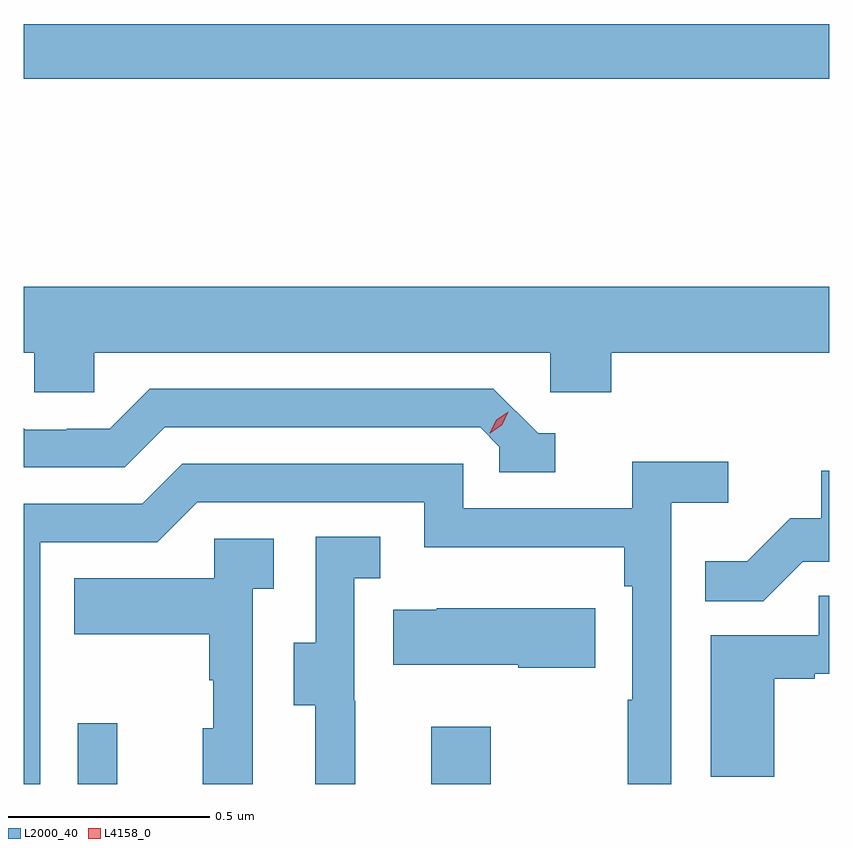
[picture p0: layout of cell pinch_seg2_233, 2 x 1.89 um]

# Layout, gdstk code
import gdstk
lib = gdstk.Library(unit=1e-6, precision=1e-09)
def R(c, l, rs):  # rectangles x0, y0, x1, y1
    for r in rs: c.add(gdstk.rectangle(r[:2], r[2:], *l))
def P(c, l, *ps):  # polygons
    for p in ps: c.add(gdstk.Polygon(p, *l))
L2000_40 = (2000, 40)
L4158_0 = (4158, 0)

pinch_seg2_233 = lib.new_cell('pinch_seg2_233')
R(pinch_seg2_233, L2000_40, [(1013.589,651.894,1013.687,652.045), (1014.467,651.894,1014.615,652.036), (1013.455,653.644,1015.455,653.78)])
P(pinch_seg2_233, L2000_40, [(1013.631,652.964),(1014.762,652.964),(1014.762,652.866),(1014.914,652.866),(1014.914,652.964),(1015.455,652.964),(1015.455,653.128),(1013.455,653.128),(1013.455,652.964),(1013.481,652.964),(1013.481,652.866),(1013.631,652.866)],
  [(1014.775,652.764),(1014.732,652.764),(1014.621,652.875),(1013.768,652.875),(1013.669,652.776),(1013.562,652.776),(1013.562,652.773),(1013.459,652.773),(1013.455,652.777),(1013.455,652.68),(1013.706,652.68),(1013.805,652.779),(1014.588,652.779),(1014.636,652.731),(1014.636,652.668),(1014.775,652.668)],
  [(1013.496,652.494),(1013.787,652.494),(1013.886,652.593),(1014.45,652.593),(1014.45,652.481),(1014.946,652.481),(1014.946,652.385),(1014.966,652.385),(1014.966,652.103),(1014.954,652.103),(1014.954,651.894),(1015.062,651.894),(1015.062,652.592),(1015.204,652.592),(1015.204,652.694),(1014.965,652.694),(1014.965,652.578),(1014.546,652.578),(1014.546,652.689),(1013.849,652.689),(1013.75,652.59),(1013.455,652.59),(1013.455,651.894),(1013.496,651.894)],
  [(1015.389,652.446),(1015.455,652.446),(1015.455,652.671),(1015.435,652.671),(1015.435,652.554),(1015.358,652.554),(1015.251,652.447),(1015.147,652.447),(1015.147,652.348),(1015.291,652.348)],
  [(1014.278,652.101),(1014.276,652.101),(1014.276,652.405),(1014.34,652.405),(1014.34,652.508),(1014.18,652.508),(1014.18,652.245),(1014.125,652.245),(1014.125,652.09),(1014.179,652.09),(1014.179,651.894),(1014.278,651.894)],
  [(1014.024,652.379),(1014.076,652.379),(1014.076,652.503),(1013.928,652.503),(1013.928,652.405),(1013.581,652.405),(1013.581,652.265),(1013.916,652.265),(1013.916,652.151),(1013.926,652.151),(1013.926,652.032),(1013.9,652.032),(1013.9,651.894),(1014.024,651.894)],
  [(1015.318,652.155),(1015.418,652.155),(1015.418,652.167),(1015.455,652.167),(1015.455,652.361),(1015.429,652.361),(1015.429,652.263),(1015.16,652.263),(1015.16,651.912),(1015.318,651.912)],
  [(1014.874,652.33),(1014.481,652.33),(1014.481,652.327),(1014.373,652.327),(1014.373,652.19),(1014.683,652.19),(1014.683,652.183),(1014.874,652.183)])
P(pinch_seg2_233, L4158_0, [(1014.612,652.764),(1014.612,652.765),(1014.628,652.798),(1014.658,652.818),(1014.658,652.818),(1014.658,652.818),(1014.643,652.785),(1014.613,652.764)])

lib.write_gds('pinch_seg2_233.gds')
